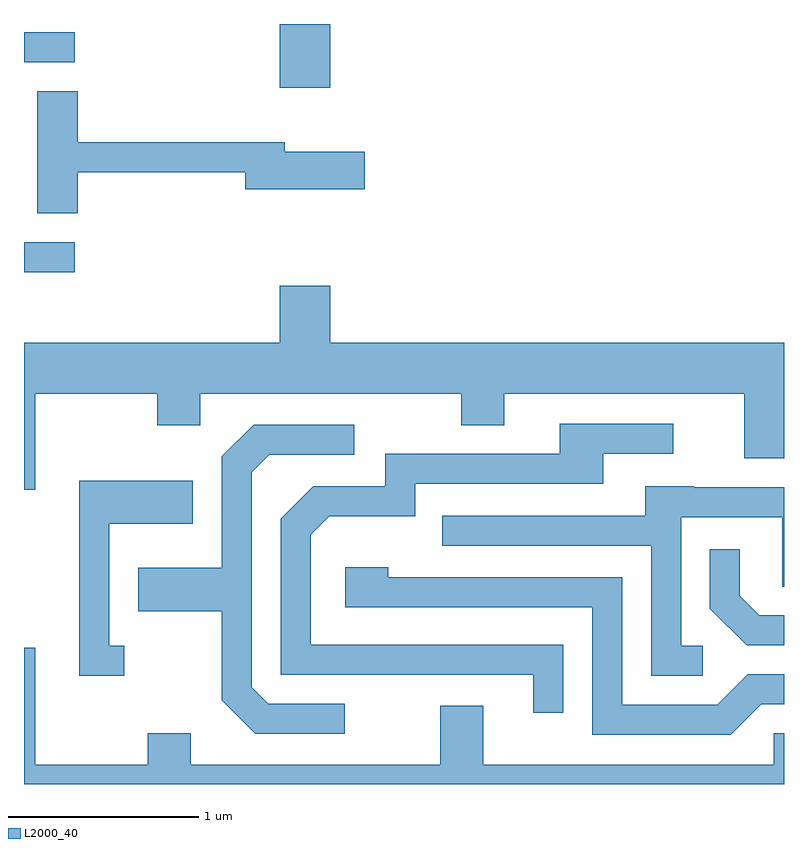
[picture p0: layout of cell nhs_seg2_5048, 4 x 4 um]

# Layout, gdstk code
import gdstk
lib = gdstk.Library(unit=1e-6, precision=1e-09)
def R(c, l, rs):  # rectangles x0, y0, x1, y1
    for r in rs: c.add(gdstk.rectangle(r[:2], r[2:], *l))
def P(c, l, *ps):  # polygons
    for p in ps: c.add(gdstk.Polygon(p, *l))
L2000_40 = (2000, 40)

nhs_seg2_5048 = lib.new_cell('nhs_seg2_5048')
R(nhs_seg2_5048, L2000_40, [(333.611,1064.496,333.878,1064.654), (334.956,1065.466,335.224,1065.802), (333.611,1065.601,333.878,1065.759)])
P(nhs_seg2_5048, L2000_40, [(333.894,1065.021),(334.776,1065.021),(334.776,1064.931),(335.404,1064.931),(335.404,1065.129),(334.984,1065.129),(334.984,1065.179),(333.894,1065.179),(333.894,1065.449),(333.681,1065.449),(333.681,1064.806),(333.894,1064.806)],
  [(333.669,1063.856),(334.311,1063.856),(334.311,1063.691),(334.539,1063.691),(334.539,1063.856),(335.911,1063.856),(335.911,1063.691),(336.139,1063.691),(336.139,1063.856),(337.401,1063.856),(337.401,1063.516),(337.611,1063.516),(337.611,1064.124),(335.224,1064.124),(335.224,1064.424),(334.956,1064.424),(334.956,1064.124),(333.611,1064.124),(333.611,1063.351),(333.669,1063.351)],
  [(336.449,1062.534),(335.119,1062.534),(335.119,1063.114),(335.217,1063.211),(335.669,1063.211),(335.669,1063.381),(336.659,1063.381),(336.659,1063.541),(337.028,1063.541),(337.028,1063.699),(336.431,1063.699),(336.431,1063.539),(335.511,1063.539),(335.511,1063.369),(335.134,1063.369),(334.961,1063.197),(334.961,1062.376),(336.291,1062.376),(336.291,1062.178),(336.449,1062.178)],
  [(335.298,1062.224),(334.897,1062.224),(334.809,1062.312),(334.809,1063.444),(334.902,1063.536),(335.348,1063.536),(335.348,1063.694),(334.819,1063.694),(334.651,1063.527),(334.651,1062.939),(334.211,1062.939),(334.211,1062.711),(334.651,1062.711),(334.651,1062.244),(334.829,1062.066),(335.298,1062.066)],
  [(334.138,1062.529),(334.059,1062.529),(334.059,1063.171),(334.499,1063.171),(334.499,1063.399),(333.901,1063.399),(333.901,1062.371),(334.138,1062.371)],
  [(337.183,1062.529),(337.069,1062.529),(337.069,1063.206),(337.601,1063.206),(337.601,1062.841),(337.611,1062.841),(337.611,1063.364),(337.135,1063.364),(337.135,1063.369),(336.881,1063.369),(336.881,1063.214),(335.813,1063.214),(335.813,1063.056),(336.911,1063.056),(336.911,1062.371),(337.183,1062.371)],
  [(337.611,1062.689),(337.482,1062.689),(337.379,1062.792),(337.379,1063.038),(337.221,1063.038),(337.221,1062.724),(337.414,1062.531),(337.611,1062.531)],
  [(337.492,1062.221),(337.611,1062.221),(337.611,1062.379),(337.419,1062.379),(337.259,1062.219),(336.759,1062.219),(336.759,1062.889),(335.529,1062.889),(335.529,1062.944),(335.301,1062.944),(335.301,1062.731),(336.601,1062.731),(336.601,1062.061),(337.332,1062.061)],
  [(337.611,1062.069),(337.556,1062.069),(337.556,1061.904),(336.029,1061.904),(336.029,1062.214),(335.801,1062.214),(335.801,1061.904),(334.489,1061.904),(334.489,1062.069),(334.261,1062.069),(334.261,1061.904),(333.669,1061.904),(333.669,1062.519),(333.611,1062.519),(333.611,1061.802),(337.611,1061.802)])

lib.write_gds('nhs_seg2_5048.gds')
